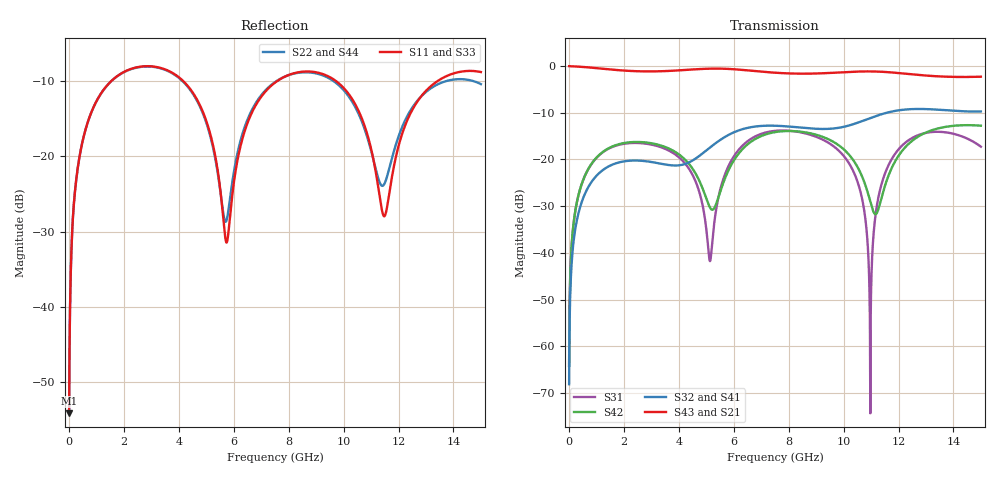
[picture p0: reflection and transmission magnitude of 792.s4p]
! Created with skrf 1.8.0 (http://scikit-rf.org).
# GHz S RI R 50.0
!freq ReS11 ImS11 ReS12 ImS12 ReS13 ImS13
! ReS14 ImS14
! ReS21 ImS21 ReS22 ImS22 ReS23 ImS23
! ReS24 ImS24
! ReS31 ImS31 ReS32 ImS32 ReS33 ImS33
! ReS34 ImS34
! ReS41 ImS41 ReS42 ImS42 ReS43 ImS43
! ReS44 ImS44
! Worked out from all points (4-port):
!   2499 points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, 5 MHz to 15 GHz, reference 50 ohm
!   strongest paths, dB at 5 MHz, 3.476 GHz, 7.19 GHz, 11.1 GHz, 15 GHz:
!     S43: 0.0, -1.1, -1.3, -1.1, -2.3
!     S21: 0.0, -1.1, -1.3, -1.2, -2.3
!     S32: -68.1, -21.1, -12.8, -10.9, -9.7
!     S41: -68.1, -21.1, -12.8, -10.9, -9.8
!     S42: -64.2, -17.3, -14.6, -31.3, -12.8
!     S31: -64.2, -17.7, -14.2, -35.5, -17.3
!   lowest |S11| = -54.1 dB at 5 MHz (marker M1), VSWR 1.00, Z = 50.2 + j0.12 ohm
!   |S11| at or under -10 dB: start of sweep to 1.544 GHz; 4.155 GHz to 7.588 GHz (3.434 GHz wide, 58.5 % of centre); 9.717 GHz to 13.43 GHz (3.713 GHz wide, 32.1 % of centre)
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0.005  0.00157 0.00119  0.9984 -0.00306  7.81e-05 0.00061  -7.6e-05 -0.000384
       0.9984 -0.00306  0.00157 0.00119  -7.6e-05 -0.000384  7.82e-05 0.00061
       7.81e-05 0.00061  -7.6e-05 -0.000384  0.00157 0.00119  0.9984 -0.00306
       -7.6e-05 -0.000384  7.82e-05 0.00061  0.9984 -0.00306  0.00157 0.00119
1.519383  0.252 0.1858  0.5908 -0.7047  0.1152 0.0681  -0.0854 -0.013
          0.5908 -0.7047  0.2503 0.1867  -0.0855 -0.0129  0.1205 0.0617
          0.1152 0.0681  -0.0855 -0.0129  0.2519 0.1858  0.5908 -0.7048
          -0.0854 -0.013  0.1205 0.0617  0.5908 -0.7048  0.2504 0.1866
5.552313  0.0286 -0.0426  -0.927 -0.1501  0.0114 0.0519  -0.0246 0.1633
          -0.927 -0.1501  0.0382 -0.0346  -0.0229 0.1636  -0.0239 0.0433
          0.0114 0.0519  -0.0229 0.1636  0.0279 -0.0433  -0.927 -0.1502
          -0.0246 0.1633  -0.0239 0.0433  -0.927 -0.1502  0.0389 -0.0349
8.959983  0.3573 -0.0577  0.0375 0.8309  0.1588 -0.0778  0.1962 -0.0782
          0.0375 0.8309  0.3521 -0.0525  0.1966 -0.0829  0.1556 -0.1009
          0.1588 -0.0778  0.1966 -0.0829  0.3542 -0.0535  0.0377 0.8319
          0.1962 -0.0782  0.1556 -0.1009  0.0377 0.8319  0.3502 -0.0566
10.97332  0.0659 -0.0977  0.7937 0.372  -5.46e-05 0.000183  0.1128 -0.2537
          0.7937 0.372  0.0822 -0.0793  0.1056 -0.257  -0.0283 -0.0213
          -5.46e-05 0.000183  0.1056 -0.257  0.0678 -0.091  0.795 0.3706
          0.1128 -0.2537  -0.0283 -0.0213  0.795 0.3706  0.0753 -0.077
11.92372  0.0661 0.0784  0.8422 -0.0931  0.0689 0.0984  -0.0545 -0.3286
          0.8422 -0.0931  0.0941 0.0788  -0.0631 -0.3271  0.0534 0.0855
          0.0689 0.0984  -0.0631 -0.3271  0.07 0.0828  0.8414 -0.0951
          -0.0545 -0.3286  0.0534 0.0855  0.8414 -0.0951  0.0917 0.0855
15  0.3528 -0.0822  -0.077 -0.7672  0.1211 -0.0642  -0.3132 0.0854
    -0.077 -0.7672  0.2928 -0.0707  -0.312 0.0972  0.0883 -0.2123
    0.1211 -0.0642  -0.312 0.0972  0.3547 -0.0771  -0.0764 -0.7662
    -0.3132 0.0854  0.0883 -0.2123  -0.0764 -0.7662  0.2958 -0.0777
